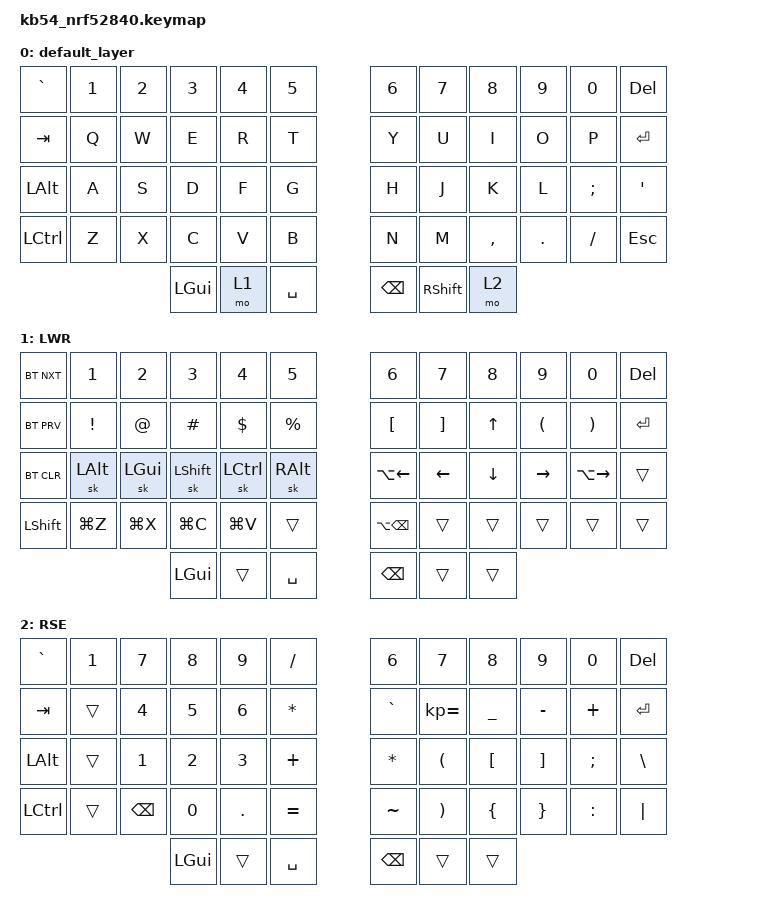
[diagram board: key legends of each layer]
/*
 * Copyright (c) 2020 The ZMK Contributors
 *
 * SPDX-License-Identifier: MIT
 */

#include <behaviors.dtsi>
#include <dt-bindings/zmk/keys.h>
#include <dt-bindings/zmk/bt.h>

/ {
        keymap {
                compatible = "zmk,keymap";

                default_layer {
// -----------------------------------------------------------------------------------------
// |   `  |  1  |  2  |  3  |  4  |  5  |   |  6  |  7   |  8  |  9  |  0  |  DEL |
// |  TAB |  Q  |  W  |  E  |  R  |  T  |   |  Y  |  U   |  I  |  O  |  P  | RET |
// | ALT  |  A  |  S  |  D  |  F  |  G  |   |  H  |  J   |  K  |  L  |  ;  |  '   |
// | CTRL |  Z  |  X  |  C  |  V  |  B  |   |  N  |  M   |  ,  |  .  |  /  | ESC  |
//                    | GUI | EXT | SPC |   | BSPC| SHFT  | RSE          
                        bindings = <
   &kp GRAVE &kp N1 &kp N2 &kp N3 &kp N4 &kp N5    &kp N6 &kp N7 &kp N8    &kp N9  &kp N0   &kp DEL
   &kp TAB   &kp Q  &kp W  &kp E  &kp R  &kp T     &kp Y  &kp U  &kp I     &kp O   &kp P    &kp RET
   &kp LALT &kp A  &kp S  &kp D  &kp F  &kp G     &kp H  &kp J  &kp K     &kp L   &kp SEMI &kp SQT
   &kp LCTRL &kp Z  &kp X  &kp C  &kp V  &kp B     &kp N  &kp M  &kp COMMA &kp DOT &kp FSLH &kp ESC
                        &kp LGUI &mo 1 &kp SPACE   &kp BSPC &kp RSHFT &mo 2
                        >;
                };

                lower_layer {
                    display-name = "LWR";
                    label = "LWR";
// -----------------------------------------------------------------------------------------
// | BTN |  1  |  2  |  3  |  4  |  5  |   |  6  |  7  |  8  |  9  |  0  |  DEL |
// | BTP |  !  |  @  |  #  |  $  |  %  |   |  [  |  ]  |  UP |  (  |  )  | ENT |
// |BTCLR| ALT | GUI | SHFT| CTRL|RALT|    |a-LFT| LFT | DWN |RGT  |a-RGT|     |
// | SHFT |CMD-Z|CMD-X|CMD-C|CMD-V|         |a-BSP|a-LFT|    |     |     |     |      |
//                    | GUI |     | SPC |   | BSPC|     | ALT |
                        bindings = <
   &bt BT_NXT   &kp N1      &kp N2      &kp N3       &kp N4       &kp N5             &kp N6       &kp N7      &kp N8      &kp N9      &kp N0        &kp DEL
   &bt BT_PRV   &kp EXCL    &kp AT      &kp HASH     &kp DLLR     &kp PRCNT          &kp LBKT     &kp RBKT    &kp UP      &kp LPAR    &kp RPAR      &kp RET
   &bt BT_CLR   &sk LALT    &sk LGUI    &sk LSHFT    &sk LCTRL    &sk RALT           &kp LA(LEFT) &kp LEFT    &kp DOWN    &kp RIGHT   &kp LA(RIGHT) &trans
   &kp LSHFT    &kp LG(Z)   &kp LG(X)   &kp LG(C)    &kp LG(V)    &trans             &kp LA(BSPC)       &trans      &trans      &trans      &trans        &trans
                                        &kp LGUI     &trans       &kp SPACE          &kp BSPC    &trans      &trans
                        >;
                };

                raise_layer {
                    display-name = "RSE";
                    label = "RSE";
// -----------------------------------------------------------------------------------------
// |   `  |     |  7  |  8  |  9  |  /  |   |  6  |  7  |  8  |  9  |  0  |  DEL |
// |  TAB |     |  4  |  5  |  6  |  *  |   |  `  |  =  |  _  |  -  |  +  | RET  |
// | ALT  |     |  1  |  2  |  3  |  +  |   |  *  |  (  |  [  |  {  |  ;  |   /  |
// | CTRL |     | BSPC|  0  |  .  |  =  |   |  ~  |  )  |  ]  |  }  |  :  | "|"  |
//                    | GUI |     | SPC |   | BSPC |     | ALT |
                        bindings = <
   &kp GRAVE &kp N1     &kp N7          &kp N8          &kp N9      &kp FSLH           &kp N6      &kp N7       &kp N8     &kp N9      &kp N0    &kp DEL
   &kp  TAB  &trans     &kp N4          &kp N5          &kp N6      &kp ASTRK          &kp GRAVE   &kp KP_EQUAL &kp UNDER   &kp MINUS   &kp PLUS  &kp RET
   &kp LALT  &trans     &kp N1          &kp N2          &kp N3      &kp PLUS           &kp ASTRK   &kp LPAR     &kp LBKT   &kp RBKT    &kp SEMI  &kp BSLH
   &kp LCTRL &trans     &kp BSPC        &kp N0          &kp DOT     &kp EQUAL          &kp TILDE   &kp RPAR     &kp LBRC   &kp RBRC    &kp COLON &kp PIPE
                                        &kp LGUI        &trans      &kp SPACE          &kp BSPC     &trans      &trans
                        >;
                };
        };
};
